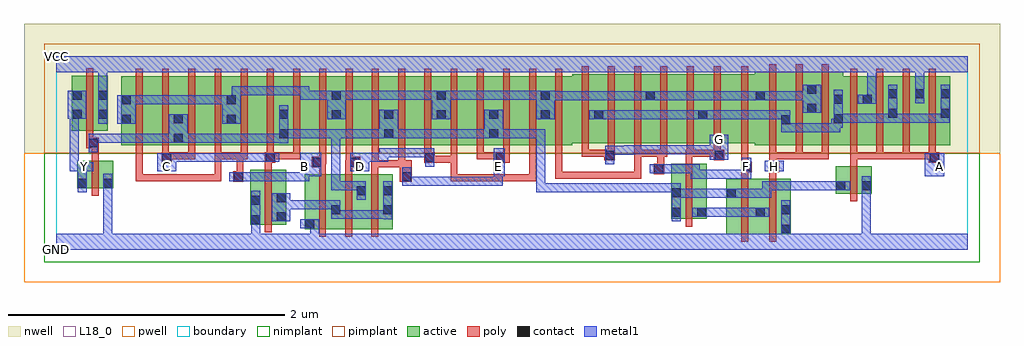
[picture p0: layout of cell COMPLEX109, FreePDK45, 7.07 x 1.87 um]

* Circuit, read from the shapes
.subckt COMPLEX109 A B C D E F G GND H VCC Y
M1 GND n1 Y VSUBS nfet w=0.2u l=0.05u
M2 n2 C GND VSUBS nfet w=0.4u l=0.05u
M3 n2 B GND VSUBS nfet w=0.4u l=0.05u
M4 n1 D n2 VSUBS nfet w=0.4u l=0.05u
M5 n2 E n1 VSUBS nfet w=0.4u l=0.05u
M6 n3 G n1 VSUBS nfet w=0.4u l=0.05u
M7 n3 F n1 VSUBS nfet w=0.4u l=0.05u
M8 GND H n3 VSUBS nfet w=0.4u l=0.05u
M9 GND A n1 VSUBS nfet w=0.2u l=0.05u
M10 VCC n1 Y n4 pfet w=0.4u l=0.05u
M11 n5 B n6 n4 pfet w=0.5u l=0.05u
M12 n1 C n5 n4 pfet w=0.5u l=0.05u
M13 n7 C n1 n4 pfet w=0.5u l=0.05u
M14 n6 B n7 n4 pfet w=0.5u l=0.05u
M15 n8 B n6 n4 pfet w=0.5u l=0.05u
M16 n1 C n8 n4 pfet w=0.5u l=0.05u
M17 n9 C n1 n4 pfet w=0.5u l=0.05u
M18 n6 B n9 n4 pfet w=0.5u l=0.05u
M19 n10 D n6 n4 pfet w=0.5u l=0.05u
M20 n1 E n10 n4 pfet w=0.5u l=0.05u
M21 n11 E n1 n4 pfet w=0.5u l=0.05u
M22 n6 D n11 n4 pfet w=0.5u l=0.05u
M23 n12 D n6 n4 pfet w=0.5u l=0.05u
M24 n1 E n12 n4 pfet w=0.5u l=0.05u
M25 n13 E n1 n4 pfet w=0.5u l=0.05u
M26 n6 D n13 n4 pfet w=0.5u l=0.05u
M27 n14 F n6 n4 pfet w=0.5u l=0.05u
M28 n15 G n14 n4 pfet w=0.5u l=0.05u
M29 n16 G n15 n4 pfet w=0.5u l=0.05u
M30 n6 F n16 n4 pfet w=0.5u l=0.05u
M31 n17 F n6 n4 pfet w=0.5u l=0.05u
M32 n15 G n17 n4 pfet w=0.5u l=0.05u
M33 n18 G n15 n4 pfet w=0.5u l=0.05u
M34 n6 F n18 n4 pfet w=0.5u l=0.05u
M35 n15 H n6 n4 pfet w=0.532u l=0.05u m=3
M36 VCC A n15 n4 pfet w=0.5u l=0.05u m=4
.ends

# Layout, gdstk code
import gdstk
lib = gdstk.Library(unit=1e-6, precision=1e-09)
def R(c, l, rs):  # rectangles x0, y0, x1, y1
    for r in rs: c.add(gdstk.rectangle(r[:2], r[2:], *l))
def A(c, l, x, y, w, h, nx, ny, dx, dy):  # array of equal rectangles
    R(c, l, [(x+i*dx, y+j*dy, x+i*dx+w, y+j*dy+h) for i in range(nx) for j in range(ny)])
active = (1, 0)
pwell = (2, 0)
nwell = (3, 0)
nimplant = (4, 0)
pimplant = (5, 0)
poly = (9, 0)
contact = (10, 0)
metal1 = (11, 0)
L18_0 = (18, 0)
boundary = (235, 0)

complex109 = lib.new_cell('COMPLEX109')
A(complex109, active, 1.075, 0.755, 0.23, 0.5, 6, 1, 0.38, 0)
A(complex109, active, 1.23, 0.755, 0.225, 0.5, 6, 1, 0.38, 0)
A(complex109, active, 1.61, 0.755, 0.075, 0.315, 3, 1, 0.76, 0)
R(complex109, active, [(4.852,0.112,5.135,0.512), (5.06,0.112,5.32,0.512), (5.245,0.112,5.32,0.492), (1.797,0.147,2.062,0.547), (1.797,0.147,1.872,0.492), (1.987,0.147,2.247,0.547), (2.172,0.147,2.437,0.547), (1.405,0.18,1.665,0.58), (1.405,0.18,1.48,0.58), (1.59,0.2,1.665,0.58), (1.987,0.2,2.062,0.492), (2.362,0.2,2.437,0.547), (5.06,0.2,5.135,0.492), (4.452,0.222,4.712,0.622), (4.637,0.222,4.712,0.447), (4.452,0.235,4.527,0.622), (2.172,0.245,2.247,0.492), (4.852,0.245,4.927,0.492), (5.645,0.405,5.72,0.605), (5.645,0.405,5.905,0.605), (5.83,0.405,5.905,0.605), (0.15,0.445,0.225,0.645), (0.15,0.445,0.41,0.645), (0.335,0.445,0.41,0.645), (0.47,0.755,0.695,1.255), (0.47,0.755,0.575,1.2), (0.695,0.755,0.92,1.255), (0.845,0.755,0.92,1.07), (0.845,0.755,1.075,1.255), (3.355,0.755,3.58,1.255), (3.505,0.755,3.735,1.255), (5.06,0.755,5.32,1.287), (5.245,0.755,5.51,1.287), (5.245,0.755,5.32,1.07), (5.435,0.755,5.51,1.2), (5.435,0.755,5.7,1.287), (5.625,0.755,5.7,1.2), (5.625,0.755,5.91,1.255), (5.835,0.755,5.91,1.255), (5.835,0.755,6.097,1.255), (6.022,0.755,6.097,1.2), (6.022,0.755,6.29,1.255), (6.215,0.755,6.475,1.255), (6.215,0.755,6.29,1.255), (6.4,0.755,6.475,1.2), (3.735,0.772,3.965,1.272), (3.89,0.772,4.115,1.272), (3.89,0.772,3.965,1.07), (4.115,0.772,4.34,1.272), (4.265,0.772,4.495,1.272), (4.495,0.772,4.72,1.272), (4.645,0.772,4.89,1.272), (4.89,0.772,5.135,1.272), (2.75,0.78,2.825,1.2), (1.23,0.807,1.305,1.2), (1.99,0.807,2.065,1.2), (3.505,0.807,3.58,1.2), (4.265,0.807,4.34,1.2), (4.645,0.807,4.72,1.07), (5.06,0.807,5.135,1.2), (0.112,0.86,0.372,1.26), (0.112,0.86,0.187,1.2), (0.297,0.86,0.372,1.26)])
R(complex109, pwell, [(-0.235,-0.235,6.835,0.7)])
R(complex109, nwell, [(-0.235,0.7,6.835,1.635)])
R(complex109, nimplant, [(-0.09,-0.09,6.69,0.7)])
R(complex109, pimplant, [(-0.09,0.7,6.69,1.49)])
A(complex109, poly, 1.902, 0.092, 0.05, 0.51, 3, 1, 0.19, 0)
A(complex109, poly, 1.902, 0.552, 0.05, 0.095, 3, 1, 0.19, 0)
A(complex109, poly, 0.765, 0.655, 0.05, 0.095, 6, 1, 0.19, 0)
A(complex109, poly, 5.165, 0.655, 0.05, 0.095, 3, 1, 0.19, 0)
A(complex109, poly, 5.75, 0.655, 0.05, 0.095, 4, 1, 0.19, 0)
A(complex109, poly, 5.75, 0.655, 0.05, 0.05, 3, 1, 0.19, 0)
A(complex109, poly, 5.75, 0.655, 0.24, 0.05, 3, 1, 0.19, 0)
A(complex109, poly, 3.805, 0.672, 0.05, 0.095, 5, 1, 0.19, 0)
A(complex109, poly, 0.575, 0.7, 0.05, 0.61, 17, 1, 0.19, 0)
A(complex109, poly, 5.165, 0.7, 0.05, 0.642, 3, 1, 0.19, 0)
A(complex109, poly, 5.75, 0.7, 0.05, 0.61, 4, 1, 0.19, 0)
A(complex109, poly, 3.805, 0.717, 0.05, 0.61, 5, 1, 0.19, 0)
R(complex109, poly, [(4.96,0.057,5.01,0.567), (5.165,0.057,5.215,0.567), (1.51,0.125,1.56,0.635), (4.557,0.167,4.607,0.677), (5.75,0.35,5.8,0.66), (0.255,0.39,0.305,0.7), (1.28,0.492,1.355,0.567), (2.487,0.492,2.575,0.647), (0.575,0.497,0.625,0.547), (0.575,0.497,0.625,0.547), (0.575,0.497,0.625,0.547), (0.575,0.497,0.625,0.547), (0.575,0.497,0.625,0.547), (0.575,0.497,0.625,0.75), (0.575,0.497,0.872,0.547), (0.822,0.497,0.872,0.547), (0.822,0.497,0.872,0.547), (0.822,0.497,0.872,0.547), (0.822,0.497,1.062,0.547), (1.012,0.497,1.062,0.547), (1.012,0.497,1.062,0.547), (1.012,0.497,1.062,0.547), (1.012,0.497,1.195,0.547), (1.145,0.497,1.195,0.547), (1.145,0.497,1.195,0.705), (2.855,0.497,2.905,0.547), (2.855,0.497,2.905,0.547), (2.855,0.497,2.905,0.547), (2.855,0.497,3.037,0.547), (2.855,0.497,2.905,0.68), (2.987,0.497,3.037,0.547), (2.987,0.497,3.037,0.547), (2.987,0.497,3.037,0.547), (2.987,0.497,3.227,0.547), (3.177,0.497,3.227,0.547), (3.177,0.497,3.475,0.547), (3.425,0.497,3.475,0.547), (3.425,0.497,3.475,0.547), (3.425,0.497,3.475,0.547), (3.425,0.497,3.475,0.547), (3.425,0.497,3.475,0.547), (3.425,0.497,3.475,0.75), (3.615,0.515,3.665,0.565), (3.615,0.515,3.665,0.565), (3.615,0.515,3.665,0.565), (3.615,0.515,3.665,0.565), (3.615,0.515,3.665,0.565), (3.615,0.515,3.887,0.565), (3.615,0.515,3.665,0.75), (3.837,0.515,3.887,0.565), (3.837,0.515,4.02,0.565), (3.97,0.515,4.02,0.565), (3.97,0.515,4.02,0.565), (3.97,0.515,4.02,0.565), (3.97,0.515,4.235,0.565), (4.185,0.515,4.235,0.565), (4.185,0.515,4.235,0.722), (1.305,0.517,1.355,0.705), (4.96,0.517,5.01,0.612), (5.165,0.517,5.215,0.612), (4.327,0.547,4.402,0.622), (4.96,0.562,5.035,0.637), (5.162,0.562,5.237,0.637), (4.352,0.572,4.402,0.722), (1.51,0.585,1.56,0.68), (4.96,0.587,5.01,0.637), (4.96,0.587,5.01,0.637), (4.96,0.587,5.01,0.767), (5.165,0.587,5.215,0.705), (1.85,0.597,1.952,0.672), (2.092,0.597,2.145,0.647), (2.095,0.597,2.145,0.647), (2.095,0.597,2.2,0.672), (2.282,0.597,2.335,0.647), (2.285,0.597,2.335,0.647), (2.285,0.597,2.335,0.647), (2.285,0.597,2.335,0.647), (2.285,0.597,2.335,0.647), (2.285,0.597,2.335,0.75), (2.285,0.597,2.537,0.647), (2.475,0.597,2.525,0.75), (2.475,0.597,2.537,0.647), (2.487,0.597,2.537,0.647), (5.75,0.61,5.8,0.705), (1.902,0.622,1.952,0.672), (1.902,0.622,1.955,0.672), (1.905,0.622,1.955,0.75), (2.095,0.622,2.145,0.75), (4.557,0.627,4.607,0.722), (0.762,0.63,0.837,0.705), (1.51,0.63,1.56,0.68), (1.51,0.63,1.56,0.68), (1.51,0.63,1.585,0.705), (2.665,0.63,2.74,0.705), (2.69,0.63,2.74,0.68), (2.69,0.63,2.74,0.68), (2.69,0.63,2.905,0.68), (2.855,0.63,2.905,0.68), (2.855,0.63,2.905,0.75), (3.177,0.63,3.285,0.705), (6.32,0.63,6.395,0.705), (3.97,0.647,4.045,0.722), (4.762,0.647,4.837,0.722), (0.255,0.65,0.305,0.785), (0.787,0.655,0.837,0.705), (0.787,0.655,0.837,0.705), (0.787,0.655,1.005,0.705), (0.955,0.655,1.005,0.705), (1.145,0.655,1.195,0.705), (1.145,0.655,1.195,0.705), (1.145,0.655,1.195,0.705), (1.145,0.655,1.355,0.705), (1.305,0.655,1.385,0.705), (1.535,0.655,1.585,0.705), (1.535,0.655,1.585,0.705), (1.535,0.655,1.765,0.705), (1.715,0.655,1.765,0.705), (2.665,0.655,2.715,0.75), (3.045,0.655,3.095,0.75), (3.045,0.655,3.095,0.705), (3.045,0.655,3.227,0.705), (3.177,0.655,3.227,0.705), (3.177,0.655,3.227,0.705), (3.235,0.655,3.285,0.75), (5.165,0.655,5.215,0.705), (5.165,0.655,5.405,0.705), (5.355,0.655,5.405,0.705), (5.355,0.655,5.405,0.705), (5.355,0.655,5.405,0.705), (5.355,0.655,5.595,0.705), (5.545,0.655,5.595,0.705), (5.545,0.655,5.595,0.705), (5.545,0.655,5.595,0.705), (5.75,0.655,5.8,0.705), (5.75,0.655,5.8,0.705), (5.75,0.655,5.8,0.705), (5.75,0.655,5.8,0.705), (6.13,0.655,6.18,0.705), (6.13,0.655,6.18,0.705), (6.32,0.655,6.37,0.705), (6.32,0.655,6.37,0.705), (3.805,0.672,3.855,0.722), (3.805,0.672,4.02,0.722), (3.97,0.672,4.02,0.722), (3.97,0.672,4.02,0.722), (4.185,0.672,4.235,0.722), (4.185,0.672,4.235,0.722), (4.185,0.672,4.235,0.722), (4.185,0.672,4.402,0.722), (4.352,0.672,4.402,0.722), (4.352,0.672,4.402,0.722), (4.352,0.672,4.425,0.722), (4.557,0.672,4.615,0.722), (4.565,0.672,4.615,0.722), (4.565,0.672,4.615,0.722), (4.565,0.672,4.812,0.722), (4.762,0.672,4.812,0.767), (4.762,0.672,4.812,0.722), (4.762,0.672,4.812,0.722), (4.762,0.717,4.812,1.327), (4.96,0.717,5.01,1.327), (0.217,0.735,0.305,0.81), (0.255,0.735,0.305,0.785), (0.255,0.735,0.305,0.785), (0.217,0.76,0.267,0.855), (0.217,0.805,0.267,1.315)])
A(complex109, contact, 1.615, 0.807, 0.065, 0.065, 3, 2, 0.76, 0.14)
R(complex109, contact, [(5.25,0.117,5.315,0.182), (1.802,0.155,1.867,0.22), (1.41,0.185,1.475,0.25), (1.595,0.205,1.66,0.27), (4.457,0.24,4.522,0.305), (4.642,0.24,4.707,0.305), (5.065,0.24,5.13,0.305), (2.367,0.255,2.432,0.32), (1.992,0.257,2.057,0.322), (5.25,0.257,5.315,0.322), (1.41,0.325,1.475,0.39), (1.595,0.345,1.66,0.41), (4.857,0.377,4.922,0.442), (4.457,0.38,4.522,0.445), (2.177,0.395,2.242,0.46), (2.367,0.395,2.432,0.46), (5.65,0.43,5.715,0.495), (5.835,0.43,5.9,0.495), (0.155,0.45,0.22,0.515), (0.34,0.45,0.405,0.515), (1.285,0.497,1.35,0.562), (2.505,0.497,2.57,0.562), (4.332,0.552,4.397,0.617), (4.965,0.567,5.03,0.632), (5.167,0.567,5.232,0.632), (1.855,0.602,1.92,0.667), (2.13,0.602,2.195,0.667), (0.767,0.635,0.832,0.7), (1.515,0.635,1.58,0.7), (2.67,0.635,2.735,0.7), (3.182,0.635,3.247,0.7), (6.325,0.635,6.39,0.7), (3.975,0.652,4.04,0.717), (4.767,0.652,4.832,0.717), (0.235,0.74,0.3,0.805), (0.85,0.775,0.915,0.84), (5.25,0.91,5.315,0.975), (0.475,0.912,0.54,0.977), (1.235,0.912,1.3,0.977), (0.85,0.915,0.915,0.98), (5.63,0.917,5.695,0.982), (1.995,0.945,2.06,1.01), (2.755,0.945,2.82,1.01), (3.51,0.945,3.575,1.01), (3.895,0.945,3.96,1.01), (4.65,0.945,4.715,1.01), (0.117,0.947,0.182,1.012), (0.302,0.947,0.367,1.012), (6.027,0.955,6.092,1.02), (6.405,0.955,6.47,1.02), (5.44,0.99,5.505,1.055), (0.475,1.052,0.54,1.117), (1.235,1.052,1.3,1.117), (5.63,1.057,5.695,1.122), (5.84,1.057,5.905,1.122), (4.27,1.082,4.335,1.147), (5.065,1.082,5.13,1.147), (1.995,1.085,2.06,1.15), (2.755,1.085,2.82,1.15), (3.51,1.085,3.575,1.15), (0.117,1.087,0.182,1.152), (0.302,1.087,0.367,1.152), (6.027,1.095,6.092,1.16), (6.22,1.095,6.285,1.16), (6.405,1.095,6.47,1.16), (5.44,1.13,5.505,1.195)])
R(complex109, metal1, [(0,0,6.6,0.115), (0.34,0.05,0.405,0.115), (0.34,0.05,0.405,0.115), (0.34,0.05,0.405,0.48), (1.41,0.05,1.475,0.215), (1.837,0.05,1.902,0.22), (5.25,0.05,5.315,0.147), (5.835,0.05,5.9,0.46), (5.25,0.082,5.315,0.357), (1.41,0.15,1.475,0.425), (1.767,0.155,1.902,0.22), (1.56,0.205,1.695,0.41), (4.457,0.205,4.522,0.48), (2.367,0.22,2.432,0.495), (1.992,0.222,2.057,0.357), (1.992,0.222,2.232,0.287), (2.167,0.222,2.232,0.287), (2.167,0.222,2.232,0.287), (2.167,0.222,2.232,0.287), (2.167,0.222,2.405,0.287), (2.34,0.222,2.405,0.287), (2.34,0.222,2.432,0.287), (4.607,0.24,4.742,0.305), (4.677,0.24,4.742,0.305), (4.677,0.24,4.742,0.305), (4.677,0.24,4.957,0.305), (4.892,0.24,4.957,0.305), (4.892,0.24,4.957,0.305), (4.892,0.24,4.957,0.305), (4.892,0.24,5.095,0.305), (5.03,0.24,5.165,0.305), (1.63,0.292,1.695,0.357), (1.63,0.292,1.695,0.357), (1.63,0.292,1.832,0.357), (1.767,0.292,1.832,0.357), (1.767,0.292,1.832,0.357), (1.767,0.292,1.832,0.357), (1.767,0.292,2.057,0.357), (2.177,0.36,2.242,0.495), (4.457,0.377,4.57,0.442), (4.505,0.377,4.57,0.442), (4.505,0.377,4.742,0.442), (4.677,0.377,4.742,0.442), (4.677,0.377,4.742,0.442), (4.677,0.377,4.742,0.442), (4.677,0.377,4.887,0.442), (4.822,0.377,4.957,0.442), (4.892,0.377,5.027,0.442), (4.962,0.377,5.027,0.442), (4.962,0.377,5.177,0.442), (5.112,0.377,5.177,0.487), (5.835,0.395,5.9,0.46), (5.835,0.395,5.9,0.46), (5.835,0.395,5.9,0.46), (5.835,0.395,5.9,0.46), (5.835,0.395,5.9,0.53), (0.155,0.415,0.22,0.55), (0.34,0.415,0.405,0.48), (0.34,0.415,0.405,0.48), (0.34,0.415,0.405,0.55), (3.475,0.415,3.54,0.48), (3.475,0.415,3.54,0.48), (3.475,0.415,3.54,0.48), (3.475,0.415,3.765,0.48), (3.475,0.415,3.54,0.872), (3.7,0.415,3.765,0.48), (3.7,0.415,3.765,0.48), (3.7,0.415,3.765,0.48), (3.7,0.415,3.902,0.48), (3.837,0.415,3.902,0.48), (3.837,0.415,3.902,0.48), (3.837,0.415,3.902,0.48), (3.837,0.415,4.162,0.48), (4.097,0.415,4.162,0.48), (4.097,0.415,4.177,0.48), (4.112,0.415,4.177,0.48), (4.112,0.415,4.315,0.48), (4.25,0.415,4.315,0.48), (4.25,0.415,4.315,0.48), (4.25,0.415,4.315,0.48), (4.25,0.415,4.522,0.48), (5.112,0.422,5.177,0.487), (5.112,0.422,5.177,0.495), (1.992,0.43,2.057,0.495), (1.992,0.43,2.057,0.495), (1.992,0.43,2.057,0.495), (1.992,0.43,2.057,0.495), (1.992,0.43,2.057,0.495), (1.992,0.43,2.242,0.495), (1.992,0.43,2.057,0.872), (5.112,0.43,5.315,0.495), (5.25,0.43,5.315,0.495), (5.25,0.43,5.315,0.495), (5.25,0.43,5.315,0.495), (5.25,0.43,5.542,0.495), (5.477,0.43,5.542,0.495), (5.477,0.43,5.68,0.495), (5.615,0.43,5.68,0.495), (5.615,0.43,5.68,0.495), (5.615,0.43,5.75,0.495), (2.505,0.462,2.57,0.597), (2.505,0.462,2.647,0.527), (2.582,0.462,2.647,0.527), (2.582,0.462,2.717,0.527), (2.652,0.462,2.717,0.527), (2.652,0.462,2.855,0.527), (2.79,0.462,2.855,0.527), (2.79,0.462,2.855,0.527), (2.79,0.462,2.855,0.527), (2.79,0.462,3.027,0.527), (2.962,0.462,3.027,0.527), (2.962,0.462,3.027,0.527), (2.962,0.462,3.027,0.527), (2.962,0.462,3.232,0.527), (3.167,0.462,3.232,0.527), (3.167,0.462,3.232,0.597), (0.155,0.485,0.22,0.632), (1.25,0.497,1.385,0.562), (1.32,0.497,1.487,0.562), (1.422,0.497,1.487,0.562), (1.422,0.497,1.522,0.562), (1.457,0.497,1.522,0.562), (1.457,0.497,1.695,0.562), (1.63,0.497,1.695,0.562), (1.63,0.497,1.695,0.562), (1.63,0.497,1.695,0.562), (1.63,0.497,1.832,0.562), (1.767,0.497,1.832,0.597), (4.595,0.515,4.742,0.58), (4.595,0.515,4.66,0.617), (4.677,0.515,4.742,0.58), (4.677,0.515,4.89,0.58), (4.825,0.515,4.89,0.58), (4.825,0.515,5.03,0.58), (4.965,0.515,5.032,0.667), (1.767,0.532,1.832,0.597), (1.767,0.532,1.92,0.702), (3.167,0.532,3.232,0.597), (3.167,0.532,3.232,0.597), (3.167,0.532,3.247,0.735), (6.29,0.532,6.432,0.7), (4.297,0.552,4.432,0.617), (4.367,0.552,4.507,0.617), (4.442,0.552,4.507,0.617), (4.442,0.552,4.605,0.617), (4.54,0.552,4.605,0.617), (4.54,0.552,4.66,0.617), (0.097,0.567,0.162,0.632), (0.097,0.567,0.162,0.632), (0.097,0.567,0.267,0.632), (0.097,0.567,0.162,1.012), (0.732,0.567,0.867,0.7), (2.13,0.567,2.267,0.702), (5.132,0.567,5.267,0.645), (2.67,0.6,2.735,0.735), (3.975,0.617,4.04,0.752), (0.802,0.635,0.867,0.7), (0.802,0.635,0.867,0.7), (0.802,0.635,1.005,0.7), (0.94,0.635,1.005,0.7), (0.94,0.635,1.127,0.7), (1.062,0.635,1.127,0.7), (1.062,0.635,1.177,0.7), (1.112,0.635,1.177,0.7), (1.112,0.635,1.337,0.7), (1.272,0.635,1.337,0.7), (1.272,0.635,1.337,0.7), (1.272,0.635,1.337,0.7), (1.272,0.635,1.475,0.7), (1.41,0.635,1.475,0.7), (1.41,0.635,1.545,0.7), (1.48,0.635,1.615,0.7), (2.202,0.637,2.267,0.702), (2.202,0.637,2.267,0.702), (2.202,0.637,2.405,0.702), (2.34,0.637,2.405,0.702), (2.34,0.637,2.405,0.702), (2.34,0.637,2.405,0.735), (4.732,0.652,4.867,0.832), (2.34,0.67,2.542,0.735), (2.477,0.67,2.542,0.735), (2.477,0.67,2.647,0.735), (2.582,0.67,2.647,0.735), (2.582,0.67,2.735,0.735), (3.975,0.687,4.162,0.752), (4.097,0.687,4.162,0.752), (4.097,0.687,4.177,0.752), (4.112,0.687,4.177,0.755), (4.112,0.69,4.315,0.755), (4.25,0.69,4.315,0.755), (4.25,0.69,4.315,0.755), (4.25,0.69,4.315,0.755), (4.25,0.69,4.507,0.755), (4.442,0.69,4.507,0.755), (4.442,0.69,4.57,0.755), (4.505,0.69,4.57,0.755), (4.505,0.69,4.75,0.755), (4.685,0.69,4.75,0.755), (4.685,0.69,4.797,0.755), (0.235,0.705,0.3,0.84), (1.615,0.772,1.68,1.047), (0.235,0.775,0.3,0.84), (0.235,0.775,0.3,0.84), (0.235,0.775,0.505,0.84), (0.44,0.775,0.505,0.84), (0.44,0.775,0.505,0.84), (0.44,0.775,0.505,0.84), (0.44,0.775,0.505,0.84), (0.44,0.775,0.505,0.84), (0.44,0.775,0.712,0.84), (0.647,0.775,0.712,0.84), (0.647,0.775,0.712,0.84), (0.647,0.775,0.712,0.84), (0.647,0.775,0.88,0.84), (0.815,0.775,0.95,0.98), (0.885,0.775,1.005,0.84), (0.94,0.775,1.005,0.84), (0.94,0.775,1.127,0.84), (1.062,0.775,1.127,0.84), (1.062,0.775,1.177,0.84), (1.112,0.775,1.177,0.84), (1.112,0.775,1.315,0.84), (1.25,0.775,1.315,0.84), (1.25,0.775,1.315,0.84), (1.25,0.775,1.315,0.84), (1.25,0.775,1.487,0.84), (1.422,0.775,1.487,0.84), (1.422,0.775,1.542,0.84), (1.477,0.775,1.542,0.84), (1.477,0.775,1.68,0.84), (1.615,0.807,1.68,0.872), (1.615,0.807,1.68,0.872), (1.615,0.807,1.887,0.872), (1.822,0.807,1.887,0.872), (1.822,0.807,1.887,0.872), (1.822,0.807,1.887,0.872), (1.822,0.807,2.057,0.872), (1.992,0.807,2.057,0.872), (1.992,0.807,2.057,0.872), (1.992,0.807,2.057,0.872), (1.992,0.807,2.057,0.872), (1.992,0.807,2.057,0.872), (1.992,0.807,2.232,0.872), (2.167,0.807,2.232,0.872), (2.167,0.807,2.405,0.872), (2.34,0.807,2.405,0.872), (2.34,0.807,2.405,0.872), (2.34,0.807,2.475,1.012), (2.41,0.807,2.542,0.872), (2.477,0.807,2.542,0.872), (2.477,0.807,2.647,0.872), (2.582,0.807,2.647,0.872), (2.582,0.807,2.717,0.872), (2.652,0.807,2.717,0.872), (2.652,0.807,2.855,0.872), (2.79,0.807,2.855,0.872), (2.79,0.807,2.855,0.872), (2.79,0.807,2.855,0.872), (2.79,0.807,3.027,0.872), (2.962,0.807,3.027,0.872), (2.962,0.807,3.027,0.872), (2.962,0.807,3.027,0.872), (2.962,0.807,3.165,0.872), (3.1,0.807,3.235,1.012), (3.17,0.807,3.235,0.872), (3.17,0.807,3.235,0.872), (3.17,0.807,3.402,0.872), (3.337,0.807,3.402,0.872), (3.337,0.807,3.402,0.872), (3.337,0.807,3.402,0.872), (3.337,0.807,3.54,0.872), (3.475,0.807,3.54,0.872), (3.475,0.807,3.54,0.872), (3.475,0.807,3.54,0.872), (3.475,0.807,3.54,0.872), (3.475,0.807,3.54,0.872), (5.25,0.852,5.542,0.917), (5.25,0.852,5.315,0.94), (5.477,0.852,5.542,0.917), (5.477,0.852,5.677,0.917), (5.612,0.852,5.677,0.947), (5.25,0.875,5.315,0.94), (5.25,0.875,5.315,1.01), (5.612,0.882,5.695,0.947), (5.63,0.882,5.695,1.157), (0.302,0.912,0.367,1.187), (0.44,0.912,0.575,1.117), (1.2,0.912,1.335,1.117), (5.63,0.92,5.817,0.985), (5.752,0.92,5.817,0.985), (5.752,0.92,5.955,0.985), (5.89,0.92,5.955,0.985), (5.89,0.92,5.955,0.985), (5.89,0.92,5.955,0.985), (5.89,0.92,6.092,0.985), (6.027,0.92,6.092,0.985), (6.027,0.92,6.092,0.985), (6.027,0.92,6.092,1.195), (6.027,0.92,6.23,0.985), (6.165,0.92,6.23,0.985), (6.165,0.92,6.47,0.985), (6.405,0.92,6.47,0.985), (6.405,0.92,6.47,0.985), (6.405,0.92,6.47,1.195), (1.96,0.945,2.095,1.15), (2.72,0.945,2.855,1.15), (3.475,0.945,3.61,1.15), (3.86,0.945,3.995,1.01), (3.93,0.945,3.995,1.01), (3.93,0.945,3.995,1.01), (3.93,0.945,4.162,1.01), (4.097,0.945,4.162,1.01), (4.097,0.945,4.177,1.01), (4.112,0.945,4.177,1.01), (4.112,0.945,4.315,1.01), (4.25,0.945,4.315,1.01), (4.25,0.945,4.315,1.01), (4.25,0.945,4.315,1.01), (4.25,0.945,4.507,1.01), (4.442,0.945,4.507,1.01), (4.442,0.945,4.605,1.01), (4.54,0.945,4.605,1.01), (4.54,0.945,4.68,1.01), (4.615,0.945,4.75,1.01), (4.685,0.945,4.75,1.01), (4.685,0.945,4.75,1.01), (4.685,0.945,4.957,1.01), (4.892,0.945,4.957,1.01), (4.892,0.945,4.957,1.01), (4.892,0.945,4.957,1.01), (4.892,0.945,5.165,1.01), (5.1,0.945,5.165,1.01), (5.1,0.945,5.165,1.01), (5.1,0.945,5.165,1.01), (5.1,0.945,5.315,1.01), (0.082,0.947,0.217,1.152), (5.405,0.99,5.54,1.195), (0.51,1.052,0.575,1.117), (0.51,1.052,0.575,1.117), (0.51,1.052,0.712,1.117), (0.647,1.052,0.712,1.117), (0.647,1.052,0.712,1.117), (0.647,1.052,0.712,1.117), (0.647,1.052,0.85,1.117), (0.785,1.052,0.85,1.117), (0.785,1.052,1.04,1.117), (0.975,1.052,1.04,1.117), (0.975,1.052,1.127,1.117), (1.062,1.052,1.127,1.117), (1.062,1.052,1.177,1.117), (1.112,1.052,1.177,1.117), (1.112,1.052,1.265,1.117), (1.27,1.052,1.335,1.117), (1.27,1.052,1.335,1.185), (5.805,1.057,5.94,1.122), (5.875,1.057,5.94,1.35), (6.22,1.06,6.285,1.195), (3.545,1.082,3.61,1.147), (3.545,1.082,3.61,1.147), (3.545,1.082,3.765,1.147), (3.7,1.082,3.765,1.147), (3.7,1.082,3.765,1.147), (3.7,1.082,3.765,1.147), (3.7,1.082,4.025,1.147), (3.96,1.082,4.025,1.147), (3.96,1.082,4.025,1.147), (3.96,1.082,4.025,1.147), (3.96,1.082,4.162,1.147), (4.097,1.082,4.162,1.147), (4.097,1.082,4.177,1.147), (4.112,1.082,4.177,1.147), (4.112,1.082,4.3,1.147), (4.235,1.082,4.37,1.147), (4.305,1.082,4.37,1.147), (4.305,1.082,4.37,1.147), (4.305,1.082,4.507,1.147), (4.442,1.082,4.507,1.147), (4.442,1.082,4.605,1.147), (4.54,1.082,4.605,1.147), (4.54,1.082,4.742,1.147), (4.677,1.082,4.742,1.147), (4.677,1.082,4.742,1.147), (4.677,1.082,4.742,1.147), (4.677,1.082,4.957,1.147), (4.892,1.082,4.957,1.147), (4.892,1.082,4.957,1.147), (4.892,1.082,4.957,1.147), (4.892,1.082,5.095,1.147), (5.03,1.082,5.165,1.147), (5.1,1.082,5.165,1.147), (5.1,1.082,5.165,1.147), (5.1,1.082,5.315,1.147), (5.25,1.082,5.315,1.147), (5.25,1.082,5.315,1.147), (5.25,1.082,5.315,1.147), (5.25,1.082,5.47,1.147), (1.767,1.085,2.025,1.15), (1.767,1.085,1.832,1.185), (2.03,1.085,2.095,1.15), (2.03,1.085,2.095,1.15), (2.03,1.085,2.232,1.15), (2.167,1.085,2.232,1.15), (2.167,1.085,2.405,1.15), (2.34,1.085,2.405,1.15), (2.34,1.085,2.405,1.15), (2.34,1.085,2.405,1.15), (2.34,1.085,2.542,1.15), (2.477,1.085,2.542,1.15), (2.477,1.085,2.647,1.15), (2.582,1.085,2.647,1.15), (2.582,1.085,2.717,1.15), (2.652,1.085,2.717,1.15), (2.652,1.085,2.785,1.15), (2.79,1.085,2.855,1.15), (2.79,1.085,2.855,1.15), (2.79,1.085,3.027,1.15), (2.962,1.085,3.027,1.15), (2.962,1.085,3.027,1.15), (2.962,1.085,3.027,1.15), (2.962,1.085,3.265,1.15), (3.2,1.085,3.265,1.15), (3.2,1.085,3.265,1.15), (3.2,1.085,3.265,1.15), (3.2,1.085,3.402,1.15), (3.337,1.085,3.402,1.15), (3.337,1.085,3.402,1.15), (3.337,1.085,3.402,1.15), (3.337,1.085,3.54,1.15), (1.27,1.12,1.487,1.185), (1.422,1.12,1.487,1.185), (1.422,1.12,1.522,1.185), (1.457,1.12,1.522,1.185), (1.457,1.12,1.695,1.185), (1.63,1.12,1.695,1.185), (1.63,1.12,1.695,1.185), (1.63,1.12,1.695,1.185), (1.63,1.12,1.832,1.185), (1.767,1.12,1.832,1.185), (1.767,1.12,1.832,1.185), (0.302,1.122,0.367,1.35), (6.22,1.13,6.285,1.35), (0,1.285,6.6,1.4)])
R(complex109, L18_0, [(0,0,6.6,0.115), (0.34,0.05,0.405,0.115), (0.34,0.05,0.405,0.115), (0.34,0.05,0.405,0.48), (1.41,0.05,1.475,0.215), (1.837,0.05,1.902,0.22), (5.25,0.05,5.315,0.147), (5.835,0.05,5.9,0.46), (5.25,0.082,5.315,0.357), (1.41,0.15,1.475,0.425), (1.767,0.155,1.902,0.22), (5.835,0.395,5.9,0.53), (5.835,0.395,5.9,0.46), (5.835,0.395,5.9,0.46), (5.835,0.395,5.9,0.46), (5.835,0.395,5.9,0.46), (0.155,0.415,0.22,0.55), (0.34,0.415,0.405,0.55), (0.34,0.415,0.405,0.48), (0.34,0.415,0.405,0.48), (2.505,0.462,2.57,0.597), (2.505,0.462,2.647,0.527), (2.582,0.462,2.647,0.527), (2.582,0.462,2.717,0.527), (2.652,0.462,2.717,0.527), (2.652,0.462,2.855,0.527), (2.79,0.462,2.855,0.527), (2.79,0.462,2.855,0.527), (2.79,0.462,2.855,0.527), (2.79,0.462,3.027,0.527), (2.962,0.462,3.027,0.527), (2.962,0.462,3.027,0.527), (2.962,0.462,3.027,0.527), (2.962,0.462,3.232,0.527), (3.167,0.462,3.232,0.597), (3.167,0.462,3.232,0.527), (0.155,0.485,0.22,0.632), (1.25,0.497,1.385,0.562), (1.32,0.497,1.487,0.562), (1.422,0.497,1.487,0.562), (1.422,0.497,1.522,0.562), (1.457,0.497,1.522,0.562), (1.457,0.497,1.695,0.562), (1.63,0.497,1.695,0.562), (1.63,0.497,1.695,0.562), (1.63,0.497,1.695,0.562), (1.63,0.497,1.832,0.562), (1.767,0.497,1.832,0.597), (4.595,0.515,4.66,0.617), (4.595,0.515,4.742,0.58), (4.677,0.515,4.742,0.58), (4.677,0.515,4.89,0.58), (4.825,0.515,4.89,0.58), (4.825,0.515,5.03,0.58), (4.965,0.515,5.032,0.667), (1.767,0.532,1.832,0.597), (1.767,0.532,1.92,0.702), (3.167,0.532,3.232,0.597), (3.167,0.532,3.232,0.597), (3.167,0.532,3.247,0.735), (6.29,0.532,6.432,0.7), (4.297,0.552,4.432,0.617), (4.367,0.552,4.507,0.617), (4.442,0.552,4.507,0.617), (4.442,0.552,4.605,0.617), (4.54,0.552,4.605,0.617), (4.54,0.552,4.66,0.617), (0.097,0.567,0.267,0.632), (0.097,0.567,0.162,0.632), (0.097,0.567,0.162,0.632), (0.097,0.567,0.162,1.012), (0.167,0.567,0.232,0.632), (0.732,0.567,0.867,0.7), (0.767,0.567,0.832,0.632), (1.767,0.567,1.832,0.632), (2.13,0.567,2.267,0.702), (2.167,0.567,2.232,0.632), (3.167,0.567,3.232,0.632), (4.967,0.567,5.032,0.632), (5.132,0.567,5.267,0.645), (5.167,0.567,5.232,0.632), (6.367,0.567,6.432,0.632), (2.67,0.6,2.735,0.735), (3.975,0.617,4.04,0.752), (0.802,0.635,0.867,0.7), (0.802,0.635,0.867,0.7), (0.802,0.635,1.005,0.7), (0.94,0.635,1.005,0.7), (0.94,0.635,1.127,0.7), (1.062,0.635,1.127,0.7), (1.062,0.635,1.177,0.7), (1.112,0.635,1.177,0.7), (1.112,0.635,1.337,0.7), (1.272,0.635,1.337,0.7), (1.272,0.635,1.337,0.7), (1.272,0.635,1.337,0.7), (1.272,0.635,1.475,0.7), (1.41,0.635,1.475,0.7), (1.41,0.635,1.545,0.7), (1.48,0.635,1.615,0.7), (2.202,0.637,2.267,0.702), (2.202,0.637,2.267,0.702), (2.202,0.637,2.405,0.702), (2.34,0.637,2.405,0.702), (2.34,0.637,2.405,0.702), (2.34,0.637,2.405,0.735), (4.732,0.652,4.867,0.832), (2.34,0.67,2.542,0.735), (2.477,0.67,2.647,0.735), (2.477,0.67,2.542,0.735), (2.582,0.67,2.647,0.735), (2.582,0.67,2.735,0.735), (3.975,0.687,4.162,0.752), (4.097,0.687,4.162,0.752), (4.097,0.687,4.177,0.752), (4.112,0.687,4.177,0.755), (4.112,0.69,4.315,0.755), (4.25,0.69,4.315,0.755), (4.25,0.69,4.315,0.755), (4.25,0.69,4.315,0.755), (4.25,0.69,4.507,0.755), (4.442,0.69,4.507,0.755), (4.442,0.69,4.57,0.755), (4.505,0.69,4.57,0.755), (4.505,0.69,4.75,0.755), (4.685,0.69,4.75,0.755), (4.685,0.69,4.797,0.755), (4.767,0.767,4.832,0.832), (0.302,0.912,0.367,1.187), (0.082,0.947,0.217,1.152), (5.805,1.057,5.94,1.122), (5.875,1.057,5.94,1.35), (6.22,1.06,6.285,1.195), (0.302,1.122,0.367,1.35), (6.22,1.13,6.285,1.35), (0,1.285,6.6,1.4)])
R(complex109, boundary, [(0,0,6.6,1.4)])
complex109.add(gdstk.Label('A', (6.4,0.6), layer=11, texttype=0))
complex109.add(gdstk.Label('B', (1.8,0.6), layer=11, texttype=0))
complex109.add(gdstk.Label('C', (0.8,0.6), layer=11, texttype=0))
complex109.add(gdstk.Label('D', (2.2,0.6), layer=11, texttype=0))
complex109.add(gdstk.Label('E', (3.2,0.6), layer=11, texttype=0))
complex109.add(gdstk.Label('F', (5,0.6), layer=11, texttype=0))
complex109.add(gdstk.Label('G', (4.8,0.8), layer=11, texttype=0))
complex109.add(gdstk.Label('H', (5.2,0.6), layer=11, texttype=0))
complex109.add(gdstk.Label('Y', (0.2,0.6), layer=11, texttype=0))
complex109.add(gdstk.Label('VCC', (0,1.4), layer=11, texttype=0))
complex109.add(gdstk.Label('GND', (0,0), layer=11, texttype=0))

lib.write_gds('COMPLEX109.gds')
